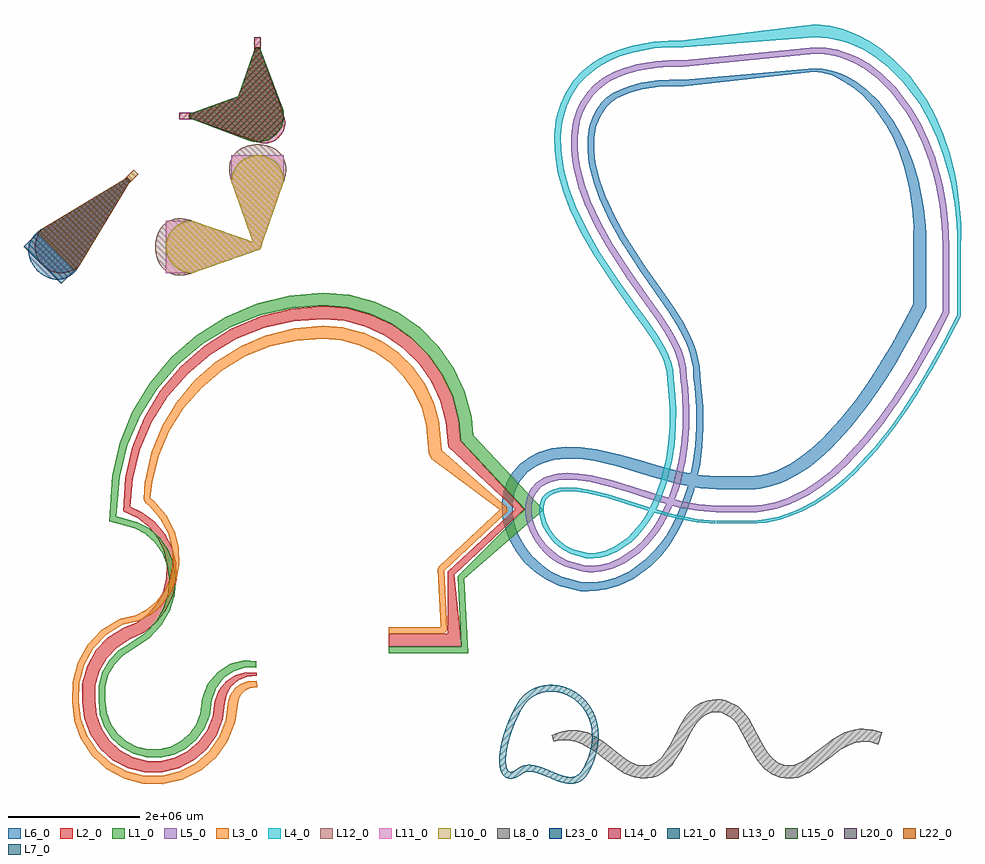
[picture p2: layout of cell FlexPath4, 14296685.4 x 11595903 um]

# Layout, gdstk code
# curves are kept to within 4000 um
import gdstk
lib = gdstk.Library(unit=1e-6, precision=1e-07)
def P(c, l, *ps):  # polygons
    for p in ps: c.add(gdstk.Polygon(p, *l))
L1_0 = (1, 0)
L2_0 = (2, 0)
L3_0 = (3, 0)
L4_0 = (4, 0)
L5_0 = (5, 0)
L6_0 = (6, 0)
L7_0 = (7, 0)
L8_0 = (8, 0)
L10_0 = (10, 0)
L11_0 = (11, 0)
L12_0 = (12, 0)
L13_0 = (13, 0)
L14_0 = (14, 0)
L15_0 = (15, 0)
L20_0 = (20, 0)
L21_0 = (21, 0)
L22_0 = (22, 0)
L23_0 = (23, 0)

flexpath4 = lib.new_cell('FlexPath4')
P(flexpath4, L1_0, [(0,-100000),(0,-200000),(1207500,-200000),(1153222.1,936807.4),(2355406.4,1985065),(1289879.4,3128777.2),(1266186.4,3399589.8),(1162369.9,3787038.3),(992850.9,4150573),(762780.1,4479148.1),(479148.1,4762780.1),(150573,4992850.9),(-212961.7,5162369.9),(-600410.2,5266186.4),(-999157,5301072.2),(-1516528.8,5255176.6),(-2017794.9,5129542.6),(-2492511.3,4927348.8),(-2929086.1,4653800.2),(-3316900.3,4315841.2),(-3646566.2,3921978.9),(-3910155.3,3482069.8),(-4101388.3,3007072.2),(-4215772.5,2508828),(-4264891.5,1816552.7),(-3872502.1,1707858.7),(-3713810.4,1621430.8),(-3572662.3,1495827.8),(-3458875.8,1334789.3),(-3381413.7,1144531.5),(-3347759.5,933535.6),(-3363348.8,712180.3),(-3431094.8,492233.1),(-3551044,286224.8),(-3720187.8,106741.4),(-4118128.8,-151589.2),(-4265540.6,-305016.2),(-4370165.5,-490282.8),(-4425429.4,-695748.1),(-4427969.9,-918121.8),(-4406625.2,-1130831.6),(-4337944.2,-1324326.5),(-4224687.5,-1496164.3),(-4073255.6,-1636221.8),(-3892297.4,-1736195.3),(-3692221.3,-1790079.1),(-3484596.9,-1794525.7),(-3281485.9,-1749053.3),(-3094741.2,-1656086.5),(-2935315.2,-1520828.1),(-2812617.8,-1350968.4),(-2733933,-1156178.7),(-2700491.4,-919497.5),(-2638460.7,-738034),(-2522480.5,-583565.9),(-2365753.5,-473337),(-2184015.6,-417288.3),(-2022302.6,-418893.1),(-2018402.3,-318969.2),(-2197171.1,-306775.9),(-2416621.3,-363078.4),(-2611802.7,-486992.5),(-2762079.6,-668840.1),(-2847020.1,-883394.7),(-2876461.2,-1119327.1),(-2938768.6,-1282910.1),(-3038642.6,-1427159.5),(-3170485.6,-1543625.1),(-3326783.3,-1625370.7),(-3498555.9,-1667447.5),(-3675873.7,-1667193.1),(-3848431.3,-1624398.8),(-4006146.5,-1541334.7),(-4139749.4,-1422630.3),(-4241327,-1275017.4),(-4304785.8,-1106963.6),(-4327907.8,-913252.4),(-4325580.3,-709522.5),(-4276878.9,-528456),(-4184678.1,-365189.6),(-4054771.2,-229981.9),(-3655281.2,29807.7),(-3470399,225991.7),(-3338903,451831.2),(-3264401.9,693709.5),(-3247200.5,937955.9),(-3284469.3,1171613.3),(-3370584.7,1383124.9),(-3497613.6,1562904.9),(-3655904.7,1703763),(-3834749.3,1801166.7),(-4158731.1,1890911.4),(-4106797.2,2491582),(-3986920,2969879.2),(-3793977.8,3422874.4),(-3532964.9,3839442.7),(-3210516.8,4209457.7),(-2834759,4523970.1),(-2415101.9,4775424.4),(-1962005.4,4957840.1),(-1486717.5,5066954.1),(-1000092.1,5100390),(-635272.5,5068472.5),(-281627.1,4973713.5),(50191,4818984.2),(350099.5,4608985.9),(608985.9,4350099.5),(818984.2,4050191),(973713.5,3718372.9),(1068472.5,3364727.5),(1096638.3,3042790.9),(2072781.2,1995094.5),(1051027,978211),(1104937.5,-100000)])
P(flexpath4, L2_0, [(0,100000),(0,-100000),(1110287,-100000),(1001107.1,1000988.8),(2070643.7,1997480.3),(1096629.4,3042892),(1068472.5,3364727.5),(973713.5,3718372.9),(818984.2,4050191),(608985.9,4350099.5),(350099.5,4608985.9),(50191,4818984.2),(-281627.1,4973713.5),(-635272.5,5068472.5),(-1000063.1,5100387.5),(-1485208.5,5057016.6),(-1955857.2,4938723.4),(-2401482.5,4748569.7),(-2811208.1,4491464.2),(-3175076.3,4173946.4),(-3484289.2,3804020),(-3731421.9,3390951.8),(-3910600.5,2945039.3),(-4017641.4,2477354.2),(-4052178.9,1969625.8),(-3821897.2,1858859.8),(-3654365.9,1724264.4),(-3522317.8,1556041.8),(-3432244.6,1363227.5),(-3388399.9,1156043),(-3392600.6,945354.8),(-3444155.8,742104.3),(-3539928.1,556739.5),(-3674519.9,398678.1),(-3840575.9,275829.3),(-4046529.3,186691.4),(-4276522.9,44392.3),(-4467697.1,-154582.8),(-4603382.1,-394849.8),(-4675052.3,-661311.8),(-4678133.6,-931018.2),(-4647748.6,-1188680.6),(-4554756.3,-1436453.6),(-4405434.3,-1654387),(-4208644.9,-1829941.7),(-3975973.5,-1953081.8),(-3721046.9,-2016848.5),(-3458734.6,-2017752.7),(-3204282,-1955965.3),(-2972424.3,-1835294.5),(-2776533,-1662951.5),(-2627844.9,-1449120),(-2534817.8,-1206354.7),(-2504064.4,-960173.2),(-2472636.1,-823169.4),(-2402163.7,-705511.8),(-2296399.3,-613312.6),(-2164412.1,-557069.7),(-2016008.5,-543877.2),(-2017249.6,-493892.7),(-2177181,-487650.2),(-2339593.8,-533500.5),(-2482517.2,-629052),(-2590874.7,-766575.7),(-2651437.8,-930869.3),(-2684847.5,-1167552.4),(-2767638.7,-1373701.3),(-2897086,-1553667.5),(-3065485.1,-1697122.6),(-3262904.3,-1795899.6),(-3477770.2,-1844458),(-3697546.3,-1840193.6),(-3909464.5,-1783577.7),(-4101266.4,-1678116.7),(-4261913,-1530135.4),(-4382219.4,-1348398.4),(-4455380.4,-1143590.8),(-4478009,-921258.8),(-4475354,-688860.8),(-4416808.8,-471196.2),(-4305971.9,-274929.5),(-4149807.6,-112392.9),(-3951725,10162.6),(-3741383.6,111337.3),(-3547023.3,267487.2),(-3393725.5,462780.8),(-3289086.3,686775.6),(-3238116.5,927629.4),(-3243003.2,1172725.7),(-3303020,1409334.7),(-3414589.5,1625274.6),(-3571493.1,1809538.5),(-3765215.9,1952855.3),(-3946985.1,2031526.1),(-3908672,2460095.2),(-3796133.7,2907846.8),(-3615246,3331757.2),(-3370689.4,3721484.9),(-3068694.3,4067564.4),(-2716882.3,4361635.9),(-2324074.1,4596647.3),(-1900068.4,4767023.2),(-1455397.4,4868796.8),(-1001006.6,4899706.1),(-670134.8,4870758.6),(-350292.4,4785057),(-50191,4645117.5),(221050.9,4455191.8),(455191.8,4221050.9),(645117.5,3949809),(785057,3649707.6),(870758.6,3329865.2),(903720.2,2953112.2),(1926674.8,2000021.3),(898999.1,1042531.8),(900011.9,100000)])
P(flexpath4, L3_0, [(0,200000),(0,100000),(842500,100000),(892437.6,152496.9),(846950,1062248.2),(1806097.1,1955889.3),(1803442.1,2031359),(808163,2897963.8),(772664.1,3303718.5),(687031.4,3623304.1),(553166,3906784.7),(383312.9,4149360),(149360,4383312.9),(-93215.3,4553166),(-376695.9,4687031.4),(-696281.5,4772664.1),(-1009159.4,4798660.7),(-1429681.6,4760549.4),(-1855069.3,4654483.6),(-2269765.6,4477365.5),(-2638430.8,4244427.9),(-2965562.8,3957241),(-3236823.8,3631936.3),(-3464943.2,3250227.6),(-3625312.5,2848065.9),(-3719322.6,2435067.4),(-3738072.4,2141731.9),(-3717489.3,2097266.5),(-3657210.6,2053758.4),(-3483521.8,1854571.2),(-3364264.2,1630252.9),(-3301544.6,1394638.1),(-3294145,1161165),(-3337818.4,942115.5),(-3425750.5,747968.8),(-3549149.6,586904.3),(-3697923.6,464475.1),(-3861395.3,383466.6),(-4114234,321190.8),(-4375935.5,157426.4),(-4592097,-69822.7),(-4744952.7,-343689.6),(-4823185.4,-634550.4),(-4828188.6,-934977.5),(-4796653,-1229201.7),(-4698850.8,-1501838.8),(-4532743.3,-1754710.1),(-4299288,-1968862.7),(-4045290.1,-2108079.7),(-3751977.5,-2187714.9),(-3432463.1,-2193232.5),(-3150025,-2129006.1),(-2876363.5,-1993633.5),(-2642666.3,-1796444),(-2454494.5,-1533617.2),(-2346908.7,-1264690.5),(-2288616.1,-893495.5),(-2252834,-826165.9),(-2194633.1,-770119),(-2117800.1,-732920.8),(-2008478.3,-718642.3),(-2017333,-619035.1),(-2138556.2,-624791.7),(-2252841.8,-665130.3),(-2361061.3,-753161.3),(-2423694.3,-854667.5),(-2454942.3,-969979.8),(-2486333.6,-1220064.2),(-2584036.8,-1474015),(-2739957.3,-1697609.1),(-2945207.7,-1877699.6),(-3188006.9,-2003652.5),(-3454347.3,-2067949.3),(-3728802.5,-2066636.2),(-3995421.2,-1999565.8),(-4238653.8,-1870419.4),(-4444259.9,-1686504.9),(-4600141.3,-1458344.4),(-4697057,-1199063.8),(-4728158.7,-932931.1),(-4724976.9,-654424.6),(-4650025.4,-375763.2),(-4508128.4,-124496.1),(-4308201.7,83588.6),(-4068534.8,231872.7),(-3832857.8,287453.4),(-3638810.8,383613.6),(-3473258.1,521533.1),(-3342880.9,691705.7),(-3244359,906084.2),(-3194953.4,1147238.3),(-3201776.5,1403539.9),(-3269105.1,1661520.6),(-3404381.3,1915969),(-3585611,2123804.1),(-3635713.1,2161569.4),(-3611507.1,2412772.4),(-3509958,2814787.8),(-3347154,3195071),(-3127284.2,3544537.9),(-2855970.7,3854714.8),(-2540079.6,4118126.2),(-2187546.8,4328475),(-1807179.1,4480793.2),(-1408435.2,4571558.6),(-1002390.5,4598681.2),(-722428.2,4574187.7),(-453290.4,4502072.4),(-200764,4384317.4),(27478,4224500.6),(224500.6,4027478),(384317.4,3799236),(502072.4,3546709.6),(574187.7,3277571.8),(612432.9,2840427.4),(649194.2,2771368.5),(1694217,1988327.6),(761767.1,1119560.3),(745913.5,1080481),(789937.5,200000)])
P(flexpath4, L4_0, [(3218000,1256000),(3340000,1286000),(3497000,1354000),(3699000,1496000),(3799000,1592000),(3899000,1712000),(3947000,1776000),(4051000,1947000),(4405000,1851000),(4696000,1796000),(4983000,1776000),(4987000,1825000),(4703000,1847000),(4416000,1902000),(4078000,1996000),(4155000,2162000),(4243000,2406000),(4327000,2756000),(4362000,2996000),(4382000,3256000),(4384000,3531000),(4286000,3531000),(4285000,3260000),(4267000,3007000),(4234000,2774000),(4153000,2433000),(4069000,2197000),(3989000,2023000),(3370000,2217000),(3050000,2296000),(2878000,2323000),(2728000,2331000),(2603000,2322000),(2499000,2296000),(2467000,2283000),(2399000,2239000),(2334000,2162000),(2316000,2123000),(2298000,2042000),(2296000,1952000),(2366000,1952000),(2366000,2034000),(2381000,2102000),(2401000,2146000),(2441000,2190000),(2519000,2237000),(2613000,2261000),(2729000,2271000),(2872000,2264000),(3038000,2239000),(3355000,2162000),(3961000,1974000),(3873000,1827000),(3829000,1766000),(3734000,1652000),(3644000,1563000),(3454000,1429000),(3313000,1366000),(3204000,1339000),(3054000,1328000),(3017000,1331000),(2805000,1389000),(2704000,1443000),(2627000,1499000),(2535000,1589000),(2464000,1686000),(2412000,1785000),(2385000,1859000),(2366000,1952000),(2296000,1952000),(2316000,1839000),(2345000,1756000),(2401000,1647000),(2477000,1542000),(2578000,1439000),(2662000,1377000),(2775000,1315000),(3003000,1252000),(3124000,1247000)],
  [(5633000,1780000),(5752000,1793000),(5967000,1838000),(6181000,1910000),(6293000,1958000),(6502000,2069000),(6711000,2206000),(6917000,2367000),(7123000,2555000),(7442000,2899000),(7697000,3221000),(7916000,3531000),(7855000,3531000),(7657000,3251000),(7404000,2932000),(7087000,2590000),(6885000,2406000),(6682000,2247000),(6477000,2112000),(6272000,2004000),(6163000,1956000),(5954000,1886000),(5744000,1843000),(5630000,1830000),(5001000,1825000),(5002000,1775000)],
  [(8061000,3753000),(8293000,4137000),(8497000,4504000),(8725000,4945000),(8725000,6009000),(8731000,6353000),(8707000,6667000),(8635000,7132000),(8558000,7429000),(8461000,7716000),(8344000,7988000),(8205000,8249000),(7947000,8609000),(7707000,8858000),(7499000,9028000),(7322000,9143000),(7177000,9222000),(7060000,9276000),(6941000,9324000),(6732000,9375000),(6506000,9401000),(4497000,9150000),(4262000,9146000),(4037000,9128000),(3718000,9069000),(3491000,9000000),(3327000,8931000),(3113000,8810000),(2956000,8684000),(2822000,8539000),(2698000,8349000),(2623000,8184000),(2579000,8047000),(2551000,7929000),(2527000,7701000),(2532000,7469000),(2554000,7286000),(2581000,7134000),(2662000,6845000),(2770000,6558000),(2936000,6211000),(3126000,5877000),(3452000,5386000),(3896000,4769000),(4025000,4579000),(4163000,4336000),(4214000,4208000),(4242000,4097000),(4268000,3821000),(4286000,3531000),(4384000,3531000),(4367000,3829000),(4341000,4114000),(4309000,4237000),(4253000,4379000),(4196000,4488000),(4109000,4633000),(3979000,4826000),(3534000,5443000),(3211000,5929000),(3025000,6257000),(2862000,6597000),(2757000,6876000),(2679000,7157000),(2653000,7301000),(2632000,7476000),(2627000,7697000),(2650000,7912000),(2675000,8020000),(2716000,8148000),(2786000,8300000),(2901000,8478000),(3025000,8611000),(3171000,8728000),(3257000,8781000),(3370000,8841000),(3525000,8906000),(3742000,8972000),(4050000,9028000),(4267000,9046000),(4502000,9050000),(6506000,9200000),(6702000,9185000),(6890000,9147000),(7107000,9071000),(7244000,9005000),(7412000,8905000),(7613000,8752000),(7845000,8522000),(8099000,8182000),(8240000,7936000),(8361000,7675000),(8463000,7399000),(8546000,7111000),(8581000,6955000),(8632000,6658000),(8665000,6349000),(8675000,6010000),(8675000,4957000),(8453000,4528000),(8249000,4162000),(8019000,3780000),(7855000,3531000),(7916000,3531000)])
P(flexpath4, L5_0, [(3256000,1051000),(3408000,1089000),(3599000,1173000),(3831000,1337000),(3950000,1452000),(4062000,1585000),(4116000,1660000),(4181000,1761000),(4257000,1897000),(4328000,2051000),(4443000,2023000),(4719000,1971000),(4996000,1950000),(5000000,2000000),(5000000,1950000),(5623000,1955000),(5724000,1966000),(5921000,2007000),(6118000,2073000),(6218000,2116000),(6413000,2220000),(6609000,2348000),(6804000,2501000),(6999000,2679000),(7309000,3013000),(7557000,3326000),(7708000,3539000),(7585000,3539000),(7477000,3386000),(7233000,3078000),(6929000,2750000),(6740000,2578000),(6551000,2429000),(6363000,2306000),(6174000,2207000),(6082000,2167000),(5895000,2104000),(5708000,2065000),(5617000,2055000),(5004000,2050000),(4732000,2070000),(4464000,2121000),(4366000,2146000),(4438000,2348000),(4526000,2718000),(4563000,2975000),(4583000,3248000),(4585000,3539000),(4485000,3539000),(4483000,3252000),(4464000,2986000),(4428000,2737000),(4342000,2377000),(4269000,2172000),(3429000,2431000),(3093000,2513000),(2901000,2542000),(2725000,2552000),(2567000,2539000),(2428000,2504000),(2364000,2476000),(2257000,2407000),(2174000,2316000),(2141000,2262000),(2110000,2190000),(2082000,2066000),(2081000,1941000),(2181000,1941000),(2182000,2055000),(2205000,2159000),(2254000,2256000),(2322000,2330000),(2411000,2388000),(2461000,2409000),(2583000,2440000),(2727000,2451000),(2891000,2443000),(3073000,2415000),(3402000,2334000),(4231000,2079000),(4168000,1943000),(4095000,1812000),(4034000,1717000),(3877000,1520000),(3767000,1414000),(3550000,1261000),(3375000,1184000),(3238000,1150000),(3130000,1138000),(2984000,1143000),(2734000,1212000),(2602000,1283000),(2507000,1353000),(2389000,1470000),(2304000,1588000),(2241000,1710000),(2207000,1806000),(2181000,1941000),(2081000,1941000),(2090000,1865000),(2110000,1778000),(2149000,1670000),(2219000,1535000),(2312000,1407000),(2367000,1346000),(2443000,1276000),(2548000,1198000),(2697000,1118000),(2966000,1044000),(3136000,1038000)],
  [(7755000,3605000),(7913000,3847000),(8141000,4224000),(8343000,4587000),(8550000,4988000),(8550000,6001000),(8537000,6343000),(8504000,6643000),(8451000,6937000),(8417000,7082000),(8335000,7361000),(8235000,7627000),(8117000,7877000),(7982000,8109000),(7738000,8433000),(7517000,8649000),(7328000,8791000),(7170000,8883000),(7040000,8943000),(6847000,9006000),(6675000,9039000),(6499000,9050000),(4498000,8850000),(4274000,8849000),(4074000,8836000),(3785000,8786000),(3586000,8729000),(3444000,8673000),(3341000,8622000),(3273000,8583000),(3142000,8482000),(3036000,8371000),(2932000,8218000),(2869000,8086000),(2806000,7886000),(2782000,7690000),(2784000,7485000),(2820000,7190000),(2892000,6920000),(2990000,6651000),(3145000,6320000),(3324000,5999000),(3640000,5516000),(4079000,4897000),(4209000,4698000),(4297000,4546000),(4354000,4429000),(4390000,4339000),(4443000,4132000),(4485000,3539000),(4585000,3539000),(4542000,4146000),(4508000,4293000),(4446000,4469000),(4385000,4593000),(4294000,4750000),(4162000,4953000),(3723000,5572000),(3409000,6051000),(3234000,6365000),(3083000,6690000),(2988000,6950000),(2918000,7210000),(2899000,7334000),(2884000,7490000),(2882000,7684000),(2905000,7867000),(2925000,7944000),(2962000,8048000),(3019000,8168000),(3114000,8308000),(3209000,8407000),(3329000,8499000),(3485000,8581000),(3618000,8634000),(3807000,8689000),(4086000,8737000),(4278000,8750000),(4503000,8750000),(6501000,8950000),(6662000,8940000),(6824000,8909000),(7002000,8850000),(7124000,8794000),(7273000,8707000),(7452000,8573000),(7662000,8367000),(7899000,8053000),(8028000,7830000),(8143000,7588000),(8240000,7329000),(8320000,7056000),(8353000,6917000),(8405000,6629000),(8437000,6334000),(8450000,5999000),(8450000,5012000),(8255000,4634000),(8054000,4274000),(7829000,3900000),(7585000,3539000),(7708000,3539000)])
P(flexpath4, L6_0, [(3168000,751000),(3317000,774000),(3506000,828000),(3739000,937000),(4008000,1134000),(4148000,1279000),(4271000,1434000),(4333000,1531000),(4476000,1794000),(4565000,2001000),(4661000,2286000),(4671000,2332000),(4759000,2316000),(5024000,2299000),(5602000,2305000),(5669000,2312000),(5829000,2346000),(5993000,2400000),(6066000,2432000),(6235000,2521000),(6405000,2633000),(6578000,2769000),(6753000,2928000),(7043000,3241000),(7277000,3536000),(7362000,3656000),(7117000,3656000),(6891000,3371000),(6612000,3070000),(6449000,2921000),(6288000,2795000),(6134000,2694000),(5921000,2587000),(5777000,2539000),(5637000,2510000),(5590000,2505000),(5014000,2500000),(4782000,2513000),(4714000,2524000),(4749000,2680000),(4783000,2955000),(4799000,3244000),(4796000,3549000),(4788000,3656000),(4683000,3656000),(4691000,3544000),(4693000,3246000),(4675000,2965000),(4640000,2699000),(4604000,2543000),(4280000,2615000),(3532000,2831000),(3165000,2915000),(2931000,2945000),(2708000,2950000),(2489000,2925000),(2286000,2866000),(2160000,2801000),(1999000,2686000),(1862000,2523000),(1802000,2401000),(1758000,2279000),(1726000,2079000),(1888000,2079000),(1918000,2236000),(1955000,2335000),(2004000,2429000),(2115000,2558000),(2250000,2652000),(2351000,2702000),(2523000,2751000),(2715000,2771000),(2917000,2764000),(3132000,2735000),(3485000,2652000),(4230000,2430000),(4388000,2388000),(4560000,2352000),(4458000,2042000),(4371000,1845000),(4230000,1595000),(4171000,1507000),(4054000,1362000),(3924000,1231000),(3673000,1049000),(3461000,952000),(3289000,905000),(3154000,886000),(2944000,885000),(2641000,965000),(2466000,1054000),(2343000,1140000),(2255000,1216000),(2181000,1291000),(2071000,1435000),(1986000,1590000),(1937000,1715000),(1910000,1814000),(1891000,1913000),(1888000,2079000),(1726000,2079000),(1731000,1896000),(1756000,1777000),(1789000,1664000),(1847000,1523000),(1944000,1352000),(2068000,1191000),(2155000,1107000),(2254000,1024000),(2392000,930000),(2590000,831000),(2924000,746000),(3051000,744000)],
  [(7466000,3802000),(7618000,4035000),(7837000,4398000),(8034000,4753000),(8200000,5073000),(8198000,6191000),(8161000,6600000),(8111000,6883000),(8083000,7003000),(8009000,7259000),(7919000,7501000),(7813000,7726000),(7698000,7926000),(7481000,8215000),(7293000,8400000),(7136000,8518000),(7006000,8594000),(6900000,8644000),(6759000,8690000),(6624000,8716000),(6493000,8724000),(4502000,8550000),(4277000,8553000),(4105000,8544000),(3843000,8502000),(3669000,8454000),(3544000,8407000),(3426000,8352000),(3320000,8273000),(3243000,8196000),(3160000,8078000),(3109000,7975000),(3059000,7836000),(3037000,7670000),(3035000,7491000),(3060000,7240000),(3124000,6990000),(3212000,6741000),(3356000,6425000),(3523000,6118000),(3831000,5643000),(4263000,5022000),(4396000,4812000),(4488000,4647000),(4548000,4515000),(4587000,4408000),(4645000,4157000),(4649000,4016000),(4670000,3857000),(4683000,3656000),(4788000,3656000),(4771000,3868000),(4749000,4025000),(4745000,4169000),(4682000,4438000),(4641000,4552000),(4577000,4692000),(4482000,4863000),(4346000,5077000),(3914000,5699000),(3609000,6169000),(3445000,6470000),(3304000,6778000),(3220000,7019000),(3159000,7259000),(3146000,7352000),(3135000,7494000),(3137000,7663000),(3157000,7815000),(3200000,7934000),(3246000,8026000),(3320000,8131000),(3386000,8197000),(3479000,8267000),(3583000,8315000),(3700000,8359000),(3865000,8404000),(4116000,8445000),(4279000,8453000),(4506000,8450000),(6494000,8674000),(6615000,8659000),(6742000,8626000),(6961000,8515000),(7078000,8437000),(7221000,8319000),(7392000,8139000),(7592000,7859000),(7694000,7666000),(7787000,7448000),(7866000,7214000),(7929000,6965000),(7946000,6858000),(7987000,6579000),(8007000,6310000),(8000000,5982000),(8000000,5122000),(7858000,4847000),(7568000,4336000),(7300000,3915000),(7117000,3656000),(7362000,3656000)])
P(flexpath4, L7_0, [(1956742.9,-974923.6),(2043257.1,-1025076.4),(2108714.2,-936319.4),(2190847.7,-866531),(2288594,-816558.1),(2400032.2,-788619.7),(2494612.4,-784013.8),(2590994.1,-795680.1),(2683016.5,-822474.7),(2772799,-865128.4),(2859561.1,-925568.6),(2935703.9,-1000215.2),(3000833.7,-1089500),(3049239.6,-1185691.7),(3081718.7,-1288046.7),(3098917.7,-1397840.5),(3100239.8,-1513968.1),(3085799.2,-1631509.1),(3039217.4,-1799361),(2966080.8,-1958439.2),(2907319.9,-2039655.9),(2872716.9,-2065948),(2835097.6,-2082239),(2764884.9,-2090051.6),(2677397.7,-2075745.5),(2584740,-2045227.4),(2318520.5,-1938489.1),(2239994.2,-1916158.4),(2169471.1,-1905385.9),(2106830.3,-1906149.3),(2053022.5,-1917081.3),(2001106.3,-1939430.7),(1898616.4,-2003329.6),(1862920.8,-2012531.3),(1836231.8,-2007101.2),(1818003.9,-1988854.1),(1803342.9,-1958445.6),(1787359.7,-1868575.3),(1790698.8,-1748301.5),(1812612.4,-1610740.3),(1850327.6,-1465997.6),(1902749.2,-1316298.3),(1968399.6,-1166494.1),(2043344.7,-1024924.6),(1956655.3,-975075.4),(1872847.1,-1134469.4),(1802324.6,-1298644.9),(1747355.3,-1461322.8),(1708287.2,-1622199.5),(1688647.1,-1768116.4),(1689077.2,-1894524.6),(1709799,-1993848.4),(1749794.3,-2063745.7),(1777695.7,-2088344.4),(1808168.6,-2103985.3),(1842815.3,-2111888.9),(1880609.2,-2111228.3),(1955866.8,-2087123),(2076330.3,-2014674.6),(2122873,-2005079.6),(2178511.1,-2006749.4),(2301949.7,-2038565.9),(2614355.7,-2161550.6),(2692934.6,-2181825.7),(2759300.8,-2189905.4),(2816575.7,-2187828.9),(2871553.8,-2175600.4),(2922085.6,-2152919.4),(2966569.9,-2120937.9),(3006518.9,-2079099.9),(3042062.6,-2027133.2),(3089161.2,-1937890),(3129715.9,-1842875.2),(3180185.8,-1669746.7),(3201052.1,-1498665.5),(3193238.2,-1341317),(3157635.5,-1190328.8),(3096159.4,-1054236.3),(3008087.5,-931063.8),(2952281.7,-873845.4),(2891293.2,-823441.8),(2822829.5,-778542.9),(2753342.9,-743264.8),(2679590.6,-715500.2),(2603813.2,-696260.7),(2525418.9,-685619.4),(2447467.6,-684178.5),(2370640.4,-691904.1),(2297845.2,-708226.6),(2226722.3,-733715.3),(2162180.8,-766501.2),(2101986.1,-807397.2),(2047057.3,-856166.3),(1997344.8,-913625.7)])
P(flexpath4, L8_0, [(2484869.3,-1452344.3),(2515130.7,-1547655.7),(2606849.7,-1528043.4),(2724026.4,-1528876.7),(2850247.7,-1549946),(2955544.1,-1589790.3),(3147232.8,-1700001.9),(3413710.5,-1911433.4),(3515852.7,-1985139.6),(3603152.1,-2037031.6),(3677772.9,-2071380.1),(3744580.6,-2093852.3),(3878036.6,-2114111),(4020863.9,-2098301.3),(4095970.7,-2074404.8),(4213512.7,-2008627),(4313825.2,-1916052.1),(4458317.2,-1703149.7),(4626573.9,-1380687.3),(4687453.1,-1284132),(4739119.6,-1219634.8),(4782733.8,-1177687.6),(4847059.6,-1134888.2),(4918037.1,-1109541.2),(5002233.1,-1100350.3),(5051578.8,-1103524.2),(5079397.4,-1108783.6),(5212783.3,-1175102),(5276331.8,-1237316.5),(5323500.4,-1300092.9),(5572890.8,-1757258.3),(5630173.9,-1844914.5),(5731873.7,-1962548.7),(5841013.4,-2044346.1),(5975287.3,-2097794.2),(6115434.3,-2114154.6),(6248411.6,-2096292.9),(6431989.5,-2018277.5),(6890186.7,-1673844),(7039444,-1592395.8),(7121810.7,-1566244.3),(7242346.8,-1551581.3),(7355045.1,-1561621.7),(7471798.4,-1595941),(7528201.6,-1404059),(7392482.8,-1364164.9),(7245425.6,-1351063.4),(7167447.3,-1355603),(7074545.6,-1371412.4),(6960556,-1407604.2),(6781512.6,-1505306.3),(6331372.2,-1843726.1),(6195032.1,-1901666.7),(6113689.6,-1912592.8),(6024712.7,-1902205.8),(5939683.1,-1868359.6),(5864901.5,-1812312.7),(5792656.4,-1727949.1),(5744278.1,-1653919.4),(5492257.4,-1191747.3),(5427100.6,-1105030.7),(5330117.6,-1010083.5),(5143698.6,-917397.5),(5076668.9,-904724.7),(4997766.9,-899649.7),(4872938.4,-913276.1),(4763362.2,-952407.2),(4653469.2,-1024521.5),(4591133.9,-1084474.1),(4524298.4,-1167907.6),(4453340.4,-1280447.8),(4286106.1,-1600745.1),(4161266.9,-1784689.9),(4095231.5,-1845631.7),(4016002.9,-1889968.9),(3979136.1,-1901698.7),(3882111.8,-1912438.4),(3791826.6,-1898733.1),(3696317.9,-1859745.4),(3625681.1,-1817757.9),(3535043.5,-1752353.4),(3259316.1,-1533743.7),(3037032.6,-1405941.6),(2883792.8,-1373273.5),(2739078.6,-1371491.3),(2576503.5,-1413146.3)])
P(flexpath4, L10_0, [(-1983000,5953000),(-1966000,5963000),(-1954000,5980000),(-1904000,6123000),(-2093000,6123000),(-2077000,6077000),(-2208000,6123000),(-3381000,6123000),(-3400000,6017000),(-3397000,5949000),(-3381000,5877000),(-3344000,5795000),(-3293000,5727000),(-3238000,5678000),(-3160000,5633000),(-3090000,5610000),(-3017000,5600000),(-3000000,5600000)],
  [(-1600000,7000000),(-1610000,7090000),(-1643000,7180000),(-2357000,7180000),(-2360000,7175000),(-2390000,7090000),(-2400000,7000000),(-2093000,6123000),(-1904000,6123000)],
  [(-3000000,6400000),(-3051000,6397000),(-3123000,6381000),(-3185000,6355000),(-3238000,6322000),(-3273000,6293000),(-3322000,6238000),(-3355000,6185000),(-3381000,6123000),(-2208000,6123000)],
  [(-1645000,7185000),(-1707000,7273000),(-1744000,7308000),(-1795000,7344000),(-1894000,7386000),(-1966000,7399000),(-2017000,7400000),(-2123000,7381000),(-2215000,7338000),(-2293000,7273000),(-2338000,7215000),(-2357000,7180000),(-1643000,7180000)])
P(flexpath4, L11_0, [(-3000000,6400000),(-3400000,6400000),(-3400000,5600000),(-3000000,5600000),(-1979682,5960512.4),(-1950000,6000000),(-1600000,7000000),(-1600000,7400000),(-2400000,7400000),(-2400000,7000000),(-2076923.1,6076923.1)])
P(flexpath4, L12_0, [(-3170000,5566000),(-3105000,5572000),(-3026000,5591000),(-2480000,5782000),(-3518000,5782000),(-3462000,5691000),(-3412000,5641000),(-3378000,5617000),(-3330000,5592000),(-3273000,5574000)],
  [(-2000000,5950000),(-1969000,5969000),(-1950000,6000000),(-1816000,6384000),(-2184000,6384000),(-2077000,6077000),(-2954000,6384000),(-3375000,6384000),(-3444000,6329000),(-3505000,6245000),(-3541000,6159000),(-3563000,6037000),(-3563000,5963000),(-3553000,5889000),(-3518000,5782000),(-2480000,5782000)],
  [(-1600000,7000000),(-1575000,7089000),(-1567000,7151000),(-2433000,7151000),(-2425000,7089000),(-2402000,7004000),(-2184000,6384000),(-1816000,6384000)],
  [(-3000000,6400000),(-3105000,6428000),(-3199000,6435000),(-3285000,6423000),(-3330000,6408000),(-3375000,6384000),(-2954000,6384000)],
  [(-1566000,7155000),(-1567000,7230000),(-1577000,7285000),(-1605000,7357000),(-1653000,7425000),(-2347000,7425000),(-2383000,7378000),(-2408000,7330000),(-2433000,7230000),(-2433000,7151000)],
  [(-1657000,7429000),(-1722000,7485000),(-1807000,7529000),(-1889000,7553000),(-2012000,7564000),(-2111000,7553000),(-2210000,7522000),(-2288000,7478000),(-2347000,7425000),(-1653000,7425000)])
P(flexpath4, L13_0, [(-1977000,7601000),(-1910000,7610000),(-1840000,7633000),(-1762000,7678000),(-1707000,7727000),(-1672000,7771000),(-1633000,7840000),(-1610000,7910000),(-1600000,7980000),(-3046000,7980000),(-3018000,7953000),(-2132000,7622000),(-2044000,7602000)],
  [(-1601000,8022000),(-1622000,8132000),(-1953000,9018000),(-1974000,9043000),(-2007000,9050000),(-2031000,9040000),(-2047000,9018000),(-2296000,8296000),(-3018000,8047000),(-3043000,8026000),(-3050000,7993000),(-3046000,7980000),(-1600000,7980000)])
P(flexpath4, L14_0, [(-1872000,7583000),(-1831000,7588000),(-1772000,7607000),(-1732000,7628000),(-1682000,7667000),(-1682000,8234000),(-1950000,9000000),(-1950000,9200000),(-2050000,9200000),(-2050000,9000000),(-2296000,8296000),(-3000000,8050000),(-3200000,8050000),(-3200000,7950000),(-3000000,7950000),(-1983000,7594000),(-1925000,7583000)],
  [(-1678000,7671000),(-1628000,7732000),(-1601000,7787000),(-1584000,7855000),(-1582000,7914000),(-1594000,7983000),(-1682000,8234000),(-1682000,7667000)])
P(flexpath4, L15_0, [(-3032000,7983000),(-3019000,7961000),(-3001000,7950000),(-2132000,7622000),(-2044000,7602000),(-1982000,7600000),(-1910000,7610000),(-1840000,7633000),(-1762000,7678000),(-1707000,7727000),(-1672000,7771000),(-1633000,7840000),(-1610000,7910000),(-1600000,7988000),(-3033000,7988000)],
  [(-1600000,8016000),(-1622000,8132000),(-1950000,9001000),(-1969000,9025000),(-2006000,9035000),(-2035000,9023000),(-2050000,9001000),(-2296000,8296000),(-3001000,8050000),(-3025000,8032000),(-3035000,7995000),(-3033000,7988000),(-1600000,7988000)])
P(flexpath4, L20_0, [(-4717157.3,5717157.3),(-4772206.2,5671199.2),(-4834576.6,5635809),(-4902263.8,5612124.2),(-4973092.4,5600906),(-5044785.8,5602515.1),(-5115039.7,5616899.7),(-5181596.2,5643597.4),(-5242316,5681750.2),(-5295247.6,5730131.8),(-5338689.7,5787187.2),(-5371246,5851082.5),(-5391870.2,5919764.2),(-5399899.3,5991024.8),(-5395075.3,6062573.8),(-5377553.3,6132111.6),(-5347896.5,6197403.3),(-5282842.7,6282842.7),(-4025452.1,7043037.1),(-4001570.5,7049975.3),(-3977300.5,7044550.3),(-3962494.4,7033065.6),(-3951204.2,7010907.2),(-3956962.9,6974547.9)])
P(flexpath4, L21_0, [(-4717157.3,5717157.3),(-5000000,5434314.6),(-5565685.4,6000000),(-5282842.7,6282842.7),(-4035355.3,7035355.3),(-4000000,7070710.7),(-3929289.3,7000000),(-3964644.7,6964644.7)])
P(flexpath4, L22_0, [(-4717157.3,5717157.3),(-4787868,5646446.6),(-5353553.4,6212132),(-5282842.7,6282842.7),(-4035355.3,7035355.3),(-3893934,7176776.7),(-3823223.3,7106066),(-3964644.7,6964644.7)])
P(flexpath4, L23_0, [(-4717157.3,5717157.3),(-4770866.7,5641703),(-4829256.6,5583633.9),(-4891185.7,5541808.5),(-4955512.6,5515085.6),(-5021096.1,5502323.8),(-5097675.5,5503557.8),(-5172599.3,5520428.5),(-5244055.2,5551123.7),(-5319147.6,5600806.9),(-5384637.9,5663473.9),(-5437820.7,5736419.4),(-5472132.8,5806551.6),(-5494947.2,5891477.5),(-5498526,5967931.3),(-5484914.4,6044487.4),(-5458191.5,6108814.3),(-5424434.2,6160636.8),(-5389433.4,6200452),(-5296674.2,6274264.6),(-4035355.3,7035355.3),(-4009358.9,7043084.1),(-3985434.4,7037319.4),(-3967008.5,7021487.7),(-3958325.7,7003076.5),(-3964644.7,6964644.7)])

lib.write_gds('FlexPath4.gds')
